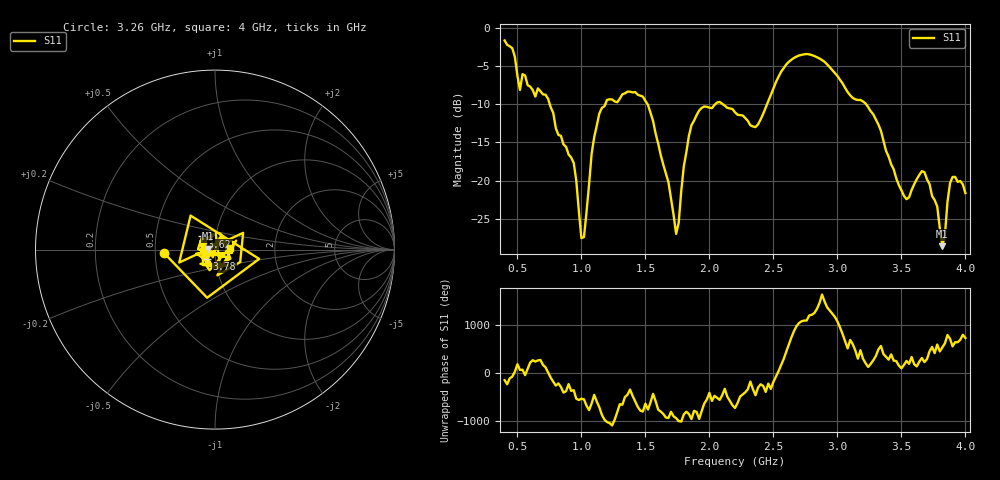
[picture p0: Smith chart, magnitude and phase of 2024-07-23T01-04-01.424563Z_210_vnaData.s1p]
!Created with skrf (http://scikit-rf.org).
# Hz S RI R 50.0
!freq ReS11 ImS11
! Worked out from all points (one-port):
!   181 points, 400 MHz to 4 GHz, reference 50 ohm
!   lowest |S11| = -28.6 dB at 3.82 GHz (marker M1), VSWR 1.08, Z = 46.4 + j0.516 ohm
!   |S11| at or under -10 dB: 752.7 MHz to 1.186 GHz (433.6 MHz wide, 44.7 % of centre); 1.517 GHz to 2.046 GHz (529.1 MHz wide, 29.7 % of centre); 3.224 GHz to end of sweep (the widest 3 of 4)
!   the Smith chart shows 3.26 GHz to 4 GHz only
!   S11 on the Smith chart (normalised r, x): 3.26 GHz: 0.56, -0.02; 3.62 GHz: 0.86, +0.13; 3.78 GHz: 0.91, -0.09; 4 GHz: 1.18, +0.02
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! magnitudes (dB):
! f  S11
! 400 MHz  -1.7
! 460 MHz  -2.7
! 520 MHz  -8.1
! 720 MHz  -8.8
! 860 MHz  -15.3
! 940 MHz  -17.7
! 1 GHz  -27.5
! 1.02 GHz  -27.4
! 1.08 GHz  -16.4
! 1.14 GHz  -11.2
! 1.3 GHz  -9.3
! 1.52 GHz  -10.1
! 1.74 GHz  -26.9
! 1.76 GHz  -25.5
! 1.8 GHz  -18.1
! 1.9 GHz  -11.4
! 2.2 GHz  -11.1
! 2.36 GHz  -13.0
! 2.66 GHz  -4.0
! 3.1 GHz  -8.8
! 3.26 GHz  -10.9
! 3.56 GHz  -22.2
! 3.62 GHz  -19.8
! 3.68 GHz  -18.9
! 3.78 GHz  -23.4
! 3.82 GHz  -28.6
! 3.9 GHz  -19.5
! 4 GHz  -21.6
